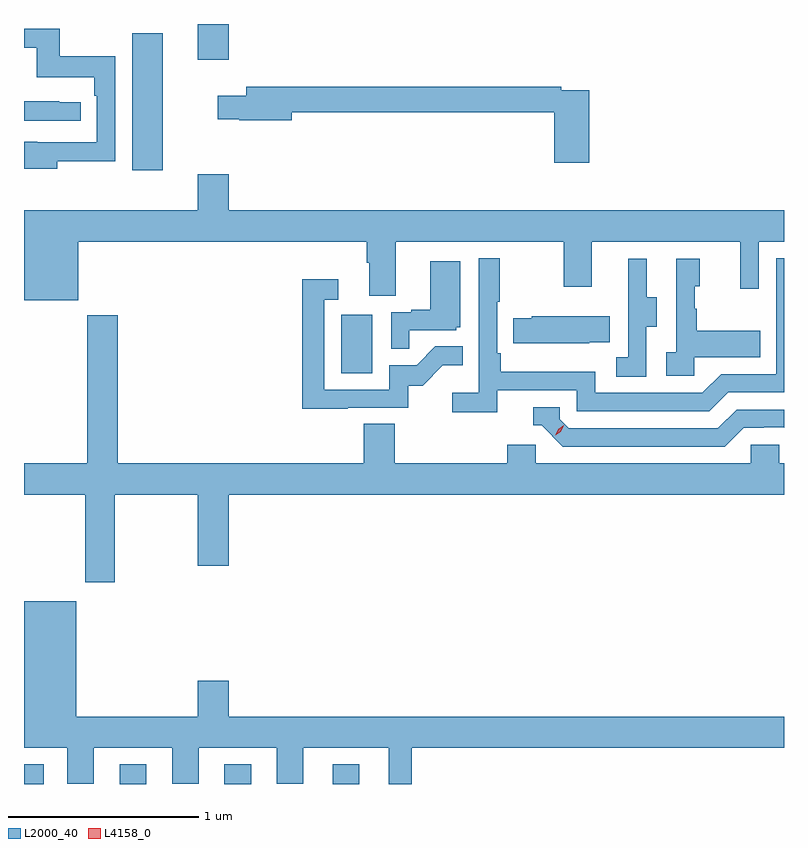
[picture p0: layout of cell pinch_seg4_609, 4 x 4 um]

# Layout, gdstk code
import gdstk
lib = gdstk.Library(unit=1e-6, precision=1e-09)
def R(c, l, rs):  # rectangles x0, y0, x1, y1
    for r in rs: c.add(gdstk.rectangle(r[:2], r[2:], *l))
def P(c, l, *ps):  # polygons
    for p in ps: c.add(gdstk.Polygon(p, *l))
L2000_40 = (2000, 40)
L4158_0 = (4158, 0)

pinch_seg4_609 = lib.new_cell('pinch_seg4_609')
R(pinch_seg4_609, L2000_40, [(1063.194,784.641,1063.297,784.744), (1063.697,784.641,1063.837,784.744), (1064.249,784.641,1064.389,784.744), (1064.819,784.641,1064.959,784.744), (1064.864,786.804,1065.028,787.111), (1063.763,787.872,1063.924,788.593), (1064.108,788.454,1064.272,788.641)])
P(pinch_seg4_609, L2000_40, [(1063.369,787.918),(1063.674,787.918),(1063.674,788.47),(1063.381,788.47),(1063.381,788.616),(1063.194,788.616),(1063.194,788.515),(1063.26,788.515),(1063.26,788.36),(1063.565,788.36),(1063.565,788.264),(1063.578,788.264),(1063.578,788.019),(1063.265,788.019),(1063.265,788.02),(1063.194,788.02),(1063.194,787.88),(1063.369,787.88)],
  [(1066.169,788.292),(1066.022,788.292),(1066.022,788.312),(1064.363,788.312),(1064.363,788.263),(1064.214,788.263),(1064.214,788.141),(1064.326,788.141),(1064.326,788.134),(1064.602,788.134),(1064.602,788.176),(1065.986,788.176),(1065.986,787.911),(1066.169,787.911)],
  [(1063.492,788.229),(1063.379,788.229),(1063.379,788.234),(1063.194,788.234),(1063.194,788.133),(1063.492,788.133)],
  [(1063.48,787.496),(1064.999,787.496),(1064.999,787.384),(1065.011,787.384),(1065.011,787.21),(1065.151,787.21),(1065.151,787.496),(1066.036,787.496),(1066.036,787.257),(1066.183,787.257),(1066.183,787.496),(1066.964,787.496),(1066.964,787.248),(1067.061,787.248),(1067.061,787.496),(1067.194,787.496),(1067.194,787.66),(1064.272,787.66),(1064.272,787.849),(1064.108,787.849),(1064.108,787.66),(1063.194,787.66),(1063.194,787.187),(1063.48,787.187)],
  [(1065.686,786.714),(1066.104,786.714),(1066.104,786.603),(1066.801,786.603),(1066.9,786.702),(1067.194,786.702),(1067.194,787.407),(1067.154,787.407),(1067.154,786.798),(1066.863,786.798),(1066.764,786.699),(1066.2,786.699),(1066.2,786.811),(1065.704,786.811),(1065.704,786.907),(1065.684,786.907),(1065.684,787.18),(1065.697,787.18),(1065.697,787.408),(1065.588,787.408),(1065.588,786.7),(1065.447,786.7),(1065.447,786.598),(1065.686,786.598)],
  [(1066.47,787.048),(1066.525,787.048),(1066.525,787.203),(1066.471,787.203),(1066.471,787.405),(1066.373,787.405),(1066.373,787.191),(1066.374,787.191),(1066.374,786.887),(1066.311,786.887),(1066.311,786.784),(1066.47,786.784)],
  [(1066.722,786.887),(1067.069,786.887),(1067.069,787.027),(1066.735,787.027),(1066.735,787.142),(1066.725,787.142),(1066.725,787.26),(1066.75,787.26),(1066.75,787.405),(1066.626,787.405),(1066.626,786.914),(1066.575,786.914),(1066.575,786.789),(1066.722,786.789)],
  [(1065.221,787.029),(1065.468,787.029),(1065.468,787.044),(1065.49,787.044),(1065.49,787.393),(1065.332,787.393),(1065.332,787.138),(1065.233,787.138),(1065.233,787.125),(1065.126,787.125),(1065.126,786.931),(1065.221,786.931)],
  [(1064.897,786.621),(1065.216,786.621),(1065.216,786.738),(1065.292,786.738),(1065.399,786.845),(1065.503,786.845),(1065.503,786.944),(1065.359,786.944),(1065.261,786.846),(1065.117,786.846),(1065.117,786.717),(1064.775,786.717),(1064.775,787.191),(1064.848,787.191),(1064.848,787.297),(1064.659,787.297),(1064.659,786.616),(1064.897,786.616)],
  [(1063.671,786.164),(1064.108,786.164),(1064.108,785.79),(1064.272,785.79),(1064.272,786.164),(1067.194,786.164),(1067.194,786.328),(1067.169,786.328),(1067.169,786.426),(1067.019,786.426),(1067.019,786.328),(1065.888,786.328),(1065.888,786.426),(1065.737,786.426),(1065.737,786.328),(1065.146,786.328),(1065.146,786.536),(1064.981,786.536),(1064.981,786.328),(1063.688,786.328),(1063.688,787.108),(1063.528,787.108),(1063.528,786.328),(1063.194,786.328),(1063.194,786.164),(1063.516,786.164),(1063.516,785.703),(1063.671,785.703)],
  [(1066.169,786.965),(1066.277,786.965),(1066.277,787.102),(1065.867,787.102),(1065.867,787.092),(1065.769,787.092),(1065.769,786.962),(1066.169,786.962)],
  [(1066.981,786.516),(1067.088,786.516),(1067.088,786.519),(1067.191,786.519),(1067.194,786.516),(1067.194,786.612),(1066.944,786.612),(1066.845,786.513),(1066.062,786.513),(1066.014,786.561),(1066.014,786.624),(1065.875,786.624),(1065.875,786.528),(1065.918,786.528),(1066.029,786.417),(1066.882,786.417)],
  [(1065.235,784.832),(1067.194,784.832),(1067.194,784.996),(1064.272,784.996),(1064.272,785.185),(1064.108,785.185),(1064.108,784.996),(1063.468,784.996),(1063.468,785.602),(1063.194,785.602),(1063.194,784.832),(1063.421,784.832),(1063.421,784.642),(1063.561,784.642),(1063.561,784.832),(1063.973,784.832),(1063.973,784.642),(1064.113,784.642),(1064.113,784.832),(1064.525,784.832),(1064.525,784.642),(1064.664,784.642),(1064.664,784.832),(1065.113,784.832),(1065.113,784.641),(1065.235,784.641)])
P(pinch_seg4_609, L4158_0, [(1065.99,786.476),(1065.99,786.476),(1066.006,786.509),(1066.036,786.528),(1066.036,786.528),(1066.036,786.528),(1066.02,786.495),(1065.99,786.476)])

lib.write_gds('pinch_seg4_609.gds')
